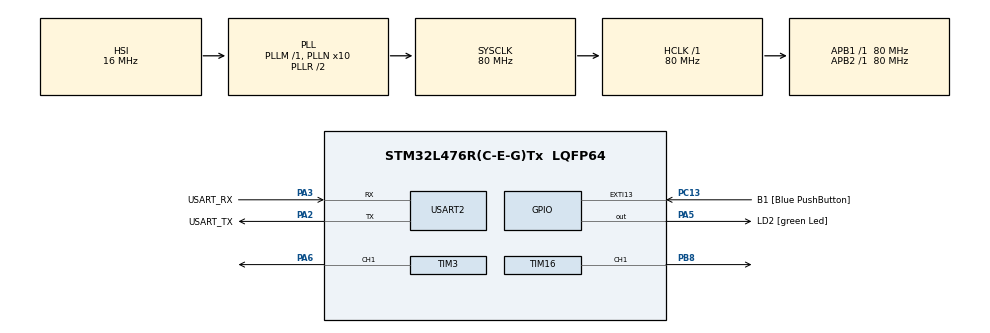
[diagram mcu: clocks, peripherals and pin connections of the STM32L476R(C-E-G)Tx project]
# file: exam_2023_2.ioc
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Dma.Request0=USART2_RX
Dma.USART2_RX.0.Direction=DMA_PERIPH_TO_MEMORY
Dma.USART2_RX.0.Instance=DMA1_Channel6
Dma.USART2_RX.0.MemDataAlignment=DMA_MDATAALIGN_BYTE
Dma.USART2_RX.0.MemInc=DMA_MINC_ENABLE
Dma.USART2_RX.0.Mode=DMA_NORMAL
Dma.USART2_RX.0.PeriphDataAlignment=DMA_PDATAALIGN_BYTE
Dma.USART2_RX.0.PeriphInc=DMA_PINC_DISABLE
Dma.USART2_RX.0.Priority=DMA_PRIORITY_LOW
Mcu.Family=STM32L4
Mcu.Name=STM32L476R(C-E-G)Tx
Mcu.Package=LQFP64
NVIC.DMA1_Channel6_IRQn=true\:0\:0\:false\:false\:true\:false\:true\:true
NVIC.PriorityGroup=NVIC_PRIORITYGROUP_4
NVIC.USART2_IRQn=true\:0\:0\:false\:false\:true\:true\:true\:true
PA13\ (JTMS-SWDIO).GPIO_Label=TMS
PA13\ (JTMS-SWDIO).Mode=Serial_Wire
PA13\ (JTMS-SWDIO).Signal=SYS_JTMS-SWDIO
PA14\ (JTCK-SWCLK).GPIO_Label=TCK
PA14\ (JTCK-SWCLK).Mode=Serial_Wire
PA14\ (JTCK-SWCLK).Signal=SYS_JTCK-SWCLK
PA2.GPIO_Label=USART_TX
PA2.GPIO_Mode=GPIO_MODE_AF_PP
PA2.GPIO_PuPd=GPIO_NOPULL
PA2.GPIO_Speed=GPIO_SPEED_FREQ_VERY_HIGH
PA2.Mode=Asynchronous
PA2.Signal=USART2_TX
PA3.GPIO_Label=USART_RX
PA3.GPIO_Mode=GPIO_MODE_AF_PP
PA3.GPIO_PuPd=GPIO_NOPULL
PA3.GPIO_Speed=GPIO_SPEED_FREQ_VERY_HIGH
PA3.Mode=Asynchronous
PA3.Signal=USART2_RX
PA5.GPIO_Label=LD2 [green Led]
PA5.GPIO_ModeDefaultOutputPP=GPIO_MODE_OUTPUT_PP
PA5.GPIO_PuPd=GPIO_NOPULL
PA5.GPIO_Speed=GPIO_SPEED_FREQ_LOW
PA5.Signal=GPIO_Output
PA6.Signal=S_TIM3_CH1
PB3\ (JTDO-TRACESWO).GPIO_Label=SWO
PB3\ (JTDO-TRACESWO).Signal=SYS_JTDO-SWO
PB8.Signal=S_TIM16_CH1
PC13.GPIO_Label=B1 [Blue PushButton]
PC13.GPIO_ModeDefaultEXTI=GPIO_MODE_IT_FALLING
PC13.GPIO_PuPd=GPIO_NOPULL
PC13.Signal=GPXTI13
PC14-OSC32_IN\ (PC14).Mode=LSE-External-Oscillator
PC14-OSC32_IN\ (PC14).Signal=RCC_OSC32_IN
PC15-OSC32_OUT\ (PC15).Mode=LSE-External-Oscillator
PC15-OSC32_OUT\ (PC15).Signal=RCC_OSC32_OUT
PH0-OSC_IN\ (PH0).Signal=RCC_OSC_IN
PH1-OSC_OUT\ (PH1).Signal=RCC_OSC_OUT
ProjectManager.HeapSize=0x200
ProjectManager.StackSize=0x400
ProjectManager.TargetToolchain=STM32CubeIDE
RCC.ADCFreq_Value=64000000
RCC.AHBFreq_Value=80000000
RCC.APB1Freq_Value=80000000
RCC.APB1TimFreq_Value=80000000
RCC.APB2Freq_Value=80000000
RCC.APB2TimFreq_Value=80000000
RCC.CortexFreq_Value=80000000
RCC.HCLKFreq_Value=80000000
RCC.HSE_VALUE=8000000
RCC.HSI_VALUE=16000000
RCC.MSI_VALUE=4000000
RCC.PLLN=10
RCC.PLLSourceVirtual=RCC_PLLSOURCE_HSI
RCC.PREFETCH_ENABLE=1
RCC.SYSCLKFreq_VALUE=80000000
RCC.SYSCLKSource=RCC_SYSCLKSOURCE_PLLCLK
RCC.USBFreq_Value=64000000
RCC.VCOOutputFreq_Value=160000000
SH.S_TIM16_CH1.0=TIM16_CH1,PWM Generation1 CH1
SH.S_TIM3_CH1.0=TIM3_CH1,PWM Generation1 CH1
TIM16.Channel=TIM_CHANNEL_1
TIM16.Period=10000-1
TIM16.Prescaler=8000-1
TIM3.Channel-PWM\ Generation1\ CH1=TIM_CHANNEL_1
TIM3.Period=1000-1
TIM3.Prescaler=80-1
USART2.VirtualMode-Asynchronous=VM_ASYNC
VP_TIM16_VS_ClockSourceINT.Mode=Enable_Timer
VP_TIM3_VS_ClockSourceINT.Mode=Internal
board=NUCLEO-L476RG

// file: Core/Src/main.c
/* USER CODE BEGIN Header */
/**
  ******************************************************************************
  * @file           : main.c
  * @brief          : Main program body
  ******************************************************************************
  * @attention
  *
  * Copyright (c) 2023 STMicroelectronics.
  * All rights reserved.
  *
  * This software is licensed under terms that can be found in the LICENSE file
  * in the root directory of this software component.
  * If no LICENSE file comes with this software, it is provided AS-IS.
  *
  ******************************************************************************
  */
/* USER CODE END Header */
#include "main.h"

/* USER CODE BEGIN Includes */
#include <stdio.h> // <> -> Cuando es libreria estandar || "" -> Cuando es una libreria que yo hice
/* USER CODE END Includes */

TIM_HandleTypeDef htim3;
TIM_HandleTypeDef htim16;

UART_HandleTypeDef huart2;
DMA_HandleTypeDef hdma_usart2_rx;

/* USER CODE BEGIN PV */
uint16_t duty = 0; // Variable para almacenar el valor del PWM
uint16_t maxDuty = 0; // Variable para controlar el maximo del ciclo util
char uartTxBuffer[32]; // Buffer para almacenar el texto que se enviará por UART

/* USER CODE END PV */

void SystemClock_Config(void);
static void MX_GPIO_Init(void);
static void MX_DMA_Init(void);
static void MX_USART2_UART_Init(void);
static void MX_TIM3_Init(void);
static void MX_TIM16_Init(void);

int main(void)
{

  /* MCU Configuration--------------------------------------------------------*/

  /* Reset of all peripherals, Initializes the Flash interface and the Systick. */
  HAL_Init();

  /* Configure the system clock */
  SystemClock_Config();

  /* Initialize all configured peripherals */
  MX_GPIO_Init();
  MX_DMA_Init();
  MX_USART2_UART_Init();
  MX_TIM3_Init();
  MX_TIM16_Init();
  /* USER CODE BEGIN 2 */

  HAL_TIM_Base_Start_IT(&htim16);// Iniciamos el contador del Timer 16 en modo Interrupción

  HAL_TIM_PWM_Start(&htim3, TIM_CHANNEL_1);//  Iniciamos el PWM en el Timmer 3 en el canal 1 (PA6)

  maxDuty = htim3.Instance->ARR;// Definimos la variable maxDuty igual al registro ARR

  /* USER CODE END 2 */

  /* Infinite loop */
  /* USER CODE BEGIN WHILE */
  while (1)
  {

	  // se va aumentado el valor del ciclo para conseguir aumentar el brillo
		  for (duty = 0; duty < maxDuty; ++duty) {
			htim3.Instance->CCR1 = duty; // El ancho del  pulso del canal 0 (PA6) va a ir incrementando hasta llegar al ARR
	        sprintf(uartTxBuffer, "PWM: %d\r\n", duty);
	        HAL_UART_Transmit(&huart2, (uint8_t*)uartTxBuffer, 8, 20);
			HAL_Delay(1);
		}

    /* USER CODE END WHILE */

  }
}

void SystemClock_Config(void)
{
  RCC_OscInitTypeDef RCC_OscInitStruct = {0};
  RCC_ClkInitTypeDef RCC_ClkInitStruct = {0};

  /** Configure the main internal regulator output voltage
  */
  if (HAL_PWREx_ControlVoltageScaling(PWR_REGULATOR_VOLTAGE_SCALE1) != HAL_OK)
  {
    Error_Handler();
  }

  /** Initializes the RCC Oscillators according to the specified parameters
  * in the RCC_OscInitTypeDef structure.
  */
  RCC_OscInitStruct.OscillatorType = RCC_OSCILLATORTYPE_HSI;
  RCC_OscInitStruct.HSIState = RCC_HSI_ON;
  RCC_OscInitStruct.HSICalibrationValue = RCC_HSICALIBRATION_DEFAULT;
  RCC_OscInitStruct.PLL.PLLState = RCC_PLL_ON;
  RCC_OscInitStruct.PLL.PLLSource = RCC_PLLSOURCE_HSI;
  RCC_OscInitStruct.PLL.PLLM = 1;
  RCC_OscInitStruct.PLL.PLLN = 10;
  RCC_OscInitStruct.PLL.PLLP = RCC_PLLP_DIV7;
  RCC_OscInitStruct.PLL.PLLQ = RCC_PLLQ_DIV2;
  RCC_OscInitStruct.PLL.PLLR = RCC_PLLR_DIV2;
  if (HAL_RCC_OscConfig(&RCC_OscInitStruct) != HAL_OK)
  {
    Error_Handler();
  }

  /** Initializes the CPU, AHB and APB buses clocks
  */
  RCC_ClkInitStruct.ClockType = RCC_CLOCKTYPE_HCLK|RCC_CLOCKTYPE_SYSCLK
                              |RCC_CLOCKTYPE_PCLK1|RCC_CLOCKTYPE_PCLK2;
  RCC_ClkInitStruct.SYSCLKSource = RCC_SYSCLKSOURCE_PLLCLK;
  RCC_ClkInitStruct.AHBCLKDivider = RCC_SYSCLK_DIV1;
  RCC_ClkInitStruct.APB1CLKDivider = RCC_HCLK_DIV1;
  RCC_ClkInitStruct.APB2CLKDivider = RCC_HCLK_DIV1;

  if (HAL_RCC_ClockConfig(&RCC_ClkInitStruct, FLASH_LATENCY_4) != HAL_OK)
  {
    Error_Handler();
  }
}

static void MX_TIM3_Init(void)
{

  TIM_ClockConfigTypeDef sClockSourceConfig = {0};
  TIM_MasterConfigTypeDef sMasterConfig = {0};
  TIM_OC_InitTypeDef sConfigOC = {0};

  htim3.Instance = TIM3;
  htim3.Init.Prescaler = 80-1;
  htim3.Init.CounterMode = TIM_COUNTERMODE_UP;
  htim3.Init.Period = 1000-1;
  htim3.Init.ClockDivision = TIM_CLOCKDIVISION_DIV1;
  htim3.Init.AutoReloadPreload = TIM_AUTORELOAD_PRELOAD_DISABLE;
  if (HAL_TIM_Base_Init(&htim3) != HAL_OK)
  {
    Error_Handler();
  }
  sClockSourceConfig.ClockSource = TIM_CLOCKSOURCE_INTERNAL;
  if (HAL_TIM_ConfigClockSource(&htim3, &sClockSourceConfig) != HAL_OK)
  {
    Error_Handler();
  }
  if (HAL_TIM_PWM_Init(&htim3) != HAL_OK)
  {
    Error_Handler();
  }
  sMasterConfig.MasterOutputTrigger = TIM_TRGO_RESET;
  sMasterConfig.MasterSlaveMode = TIM_MASTERSLAVEMODE_DISABLE;
  if (HAL_TIMEx_MasterConfigSynchronization(&htim3, &sMasterConfig) != HAL_OK)
  {
    Error_Handler();
  }
  sConfigOC.OCMode = TIM_OCMODE_PWM1;
  sConfigOC.Pulse = 0;
  sConfigOC.OCPolarity = TIM_OCPOLARITY_HIGH;
  sConfigOC.OCFastMode = TIM_OCFAST_DISABLE;
  if (HAL_TIM_PWM_ConfigChannel(&htim3, &sConfigOC, TIM_CHANNEL_1) != HAL_OK)
  {
    Error_Handler();
  }
  HAL_TIM_MspPostInit(&htim3);

}

static void MX_TIM16_Init(void)
{

  TIM_OC_InitTypeDef sConfigOC = {0};
  TIM_BreakDeadTimeConfigTypeDef sBreakDeadTimeConfig = {0};

  htim16.Instance = TIM16;
  htim16.Init.Prescaler = 8000-1;
  htim16.Init.CounterMode = TIM_COUNTERMODE_UP;
  htim16.Init.Period = 10000-1;
  htim16.Init.ClockDivision = TIM_CLOCKDIVISION_DIV1;
  htim16.Init.RepetitionCounter = 0;
  htim16.Init.AutoReloadPreload = TIM_AUTORELOAD_PRELOAD_DISABLE;
  if (HAL_TIM_Base_Init(&htim16) != HAL_OK)
  {
    Error_Handler();
  }
  if (HAL_TIM_PWM_Init(&htim16) != HAL_OK)
  {
    Error_Handler();
  }
  sConfigOC.OCMode = TIM_OCMODE_PWM1;
  sConfigOC.Pulse = 0;
  sConfigOC.OCPolarity = TIM_OCPOLARITY_HIGH;
  sConfigOC.OCNPolarity = TIM_OCNPOLARITY_HIGH;
  sConfigOC.OCFastMode = TIM_OCFAST_DISABLE;
  sConfigOC.OCIdleState = TIM_OCIDLESTATE_RESET;
  sConfigOC.OCNIdleState = TIM_OCNIDLESTATE_RESET;
  if (HAL_TIM_PWM_ConfigChannel(&htim16, &sConfigOC, TIM_CHANNEL_1) != HAL_OK)
  {
    Error_Handler();
  }
  sBreakDeadTimeConfig.OffStateRunMode = TIM_OSSR_DISABLE;
  sBreakDeadTimeConfig.OffStateIDLEMode = TIM_OSSI_DISABLE;
  sBreakDeadTimeConfig.LockLevel = TIM_LOCKLEVEL_OFF;
  sBreakDeadTimeConfig.DeadTime = 0;
  sBreakDeadTimeConfig.BreakState = TIM_BREAK_DISABLE;
  sBreakDeadTimeConfig.BreakPolarity = TIM_BREAKPOLARITY_HIGH;
  sBreakDeadTimeConfig.AutomaticOutput = TIM_AUTOMATICOUTPUT_DISABLE;
  if (HAL_TIMEx_ConfigBreakDeadTime(&htim16, &sBreakDeadTimeConfig) != HAL_OK)
  {
    Error_Handler();
  }
  HAL_TIM_MspPostInit(&htim16);

}

static void MX_USART2_UART_Init(void)
{

  huart2.Instance = USART2;
  huart2.Init.BaudRate = 115200;
  huart2.Init.WordLength = UART_WORDLENGTH_8B;
  huart2.Init.StopBits = UART_STOPBITS_1;
  huart2.Init.Parity = UART_PARITY_NONE;
  huart2.Init.Mode = UART_MODE_TX_RX;
  huart2.Init.HwFlowCtl = UART_HWCONTROL_NONE;
  huart2.Init.OverSampling = UART_OVERSAMPLING_16;
  huart2.Init.OneBitSampling = UART_ONE_BIT_SAMPLE_DISABLE;
  huart2.AdvancedInit.AdvFeatureInit = UART_ADVFEATURE_NO_INIT;
  if (HAL_UART_Init(&huart2) != HAL_OK)
  {
    Error_Handler();
  }

}

static void MX_DMA_Init(void)
{

  /* DMA controller clock enable */
  __HAL_RCC_DMA1_CLK_ENABLE();

  /* DMA interrupt init */
  /* DMA1_Channel6_IRQn interrupt configuration */
  HAL_NVIC_SetPriority(DMA1_Channel6_IRQn, 0, 0);
  HAL_NVIC_EnableIRQ(DMA1_Channel6_IRQn);

}

static void MX_GPIO_Init(void)
{
  GPIO_InitTypeDef GPIO_InitStruct = {0};

  /* GPIO Ports Clock Enable */
  __HAL_RCC_GPIOC_CLK_ENABLE();
  __HAL_RCC_GPIOH_CLK_ENABLE();
  __HAL_RCC_GPIOA_CLK_ENABLE();
  __HAL_RCC_GPIOB_CLK_ENABLE();

  /*Configure GPIO pin Output Level */
  HAL_GPIO_WritePin(LD2_GPIO_Port, LD2_Pin, GPIO_PIN_RESET);

  /*Configure GPIO pin : B1_Pin */
  GPIO_InitStruct.Pin = B1_Pin;
  GPIO_InitStruct.Mode = GPIO_MODE_IT_FALLING;
  GPIO_InitStruct.Pull = GPIO_NOPULL;
  HAL_GPIO_Init(B1_GPIO_Port, &GPIO_InitStruct);

  /*Configure GPIO pin : LD2_Pin */
  GPIO_InitStruct.Pin = LD2_Pin;
  GPIO_InitStruct.Mode = GPIO_MODE_OUTPUT_PP;
  GPIO_InitStruct.Pull = GPIO_NOPULL;
  GPIO_InitStruct.Speed = GPIO_SPEED_FREQ_LOW;
  HAL_GPIO_Init(LD2_GPIO_Port, &GPIO_InitStruct);

}

/* USER CODE BEGIN 4 */
void HAL_TIM_PeriodElapsedCallback(TIM_HandleTypeDef *htim)
{
	// Verificamos que la interrupción provenga del Timer 16
	if (htim == &htim16)
	{
		// Cambiamos el estado del pin cada 1 segundo (según las configuraciones del HCLK = 80 MHz y del Prescaler = 8000 previamente hechas)
		HAL_GPIO_TogglePin(LD2_GPIO_Port, LD2_Pin);
	}
}
/* USER CODE END 4 */

void Error_Handler(void)
{
  __disable_irq();
  while (1)
  {
  }
}
